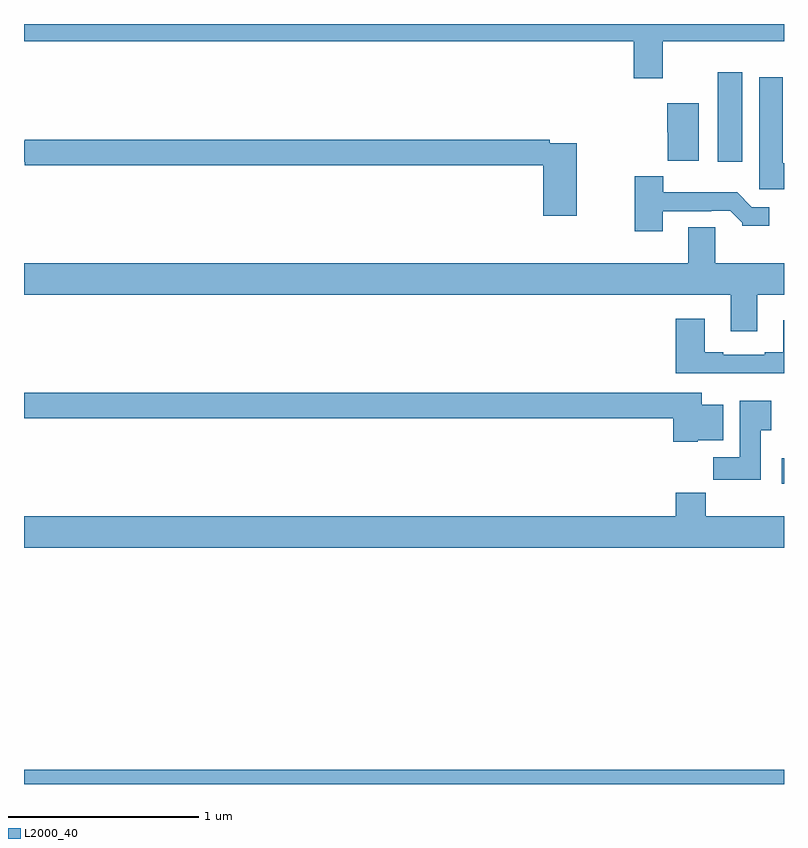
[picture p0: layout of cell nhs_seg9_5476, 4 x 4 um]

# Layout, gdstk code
import gdstk
lib = gdstk.Library(unit=1e-6, precision=1e-09)
def R(c, l, rs):  # rectangles x0, y0, x1, y1
    for r in rs: c.add(gdstk.rectangle(r[:2], r[2:], *l))
def P(c, l, *ps):  # polygons
    for p in ps: c.add(gdstk.Polygon(p, *l))
L2000_40 = (2000, 40)

nhs_seg9_5476 = lib.new_cell('nhs_seg9_5476')
R(nhs_seg9_5476, L2000_40, [(429,1204.5,433,1204.576), (432.987,1206.08,433,1206.214), (432.65,1207.776,432.781,1208.245)])
P(nhs_seg9_5476, L2000_40, [(432.361,1208.408),(433,1208.408),(433,1208.5),(429,1208.5),(429,1208.408),(432.209,1208.408),(432.209,1208.214),(432.361,1208.214)],
  [(433,1207.768),(432.994,1207.768),(432.994,1208.221),(432.869,1208.221),(432.869,1207.629),(433,1207.629)],
  [(432.55,1208.083),(432.386,1208.083),(432.386,1207.929),(432.388,1207.929),(432.388,1207.781),(432.55,1207.781)],
  [(431.91,1207.872),(431.768,1207.872),(431.768,1207.892),(429.005,1207.892),(429.005,1207.885),(429,1207.885),(429,1207.775),(429.004,1207.775),(429.004,1207.756),(431.732,1207.756),(431.732,1207.491),(431.91,1207.491)],
  [(432.361,1207.515),(432.617,1207.515),(432.617,1207.518),(432.716,1207.518),(432.78,1207.454),(432.78,1207.439),(432.922,1207.439),(432.922,1207.536),(432.831,1207.536),(432.753,1207.615),(432.364,1207.615),(432.364,1207.699),(432.214,1207.699),(432.214,1207.41),(432.361,1207.41)],
  [(432.859,1207.076),(433,1207.076),(433,1207.24),(432.637,1207.24),(432.637,1207.43),(432.497,1207.43),(432.497,1207.24),(429,1207.24),(429,1207.076),(432.719,1207.076),(432.719,1206.882),(432.859,1206.882)],
  [(433,1206.94),(432.995,1206.94),(432.995,1206.772),(432.899,1206.772),(432.899,1206.759),(432.679,1206.759),(432.679,1206.772),(432.583,1206.772),(432.583,1206.949),(432.431,1206.949),(432.431,1206.662),(433,1206.662)],
  [(432.546,1206.308),(432.679,1206.308),(432.679,1206.496),(432.568,1206.496),(432.568,1206.56),(429,1206.56),(429,1206.424),(432.416,1206.424),(432.416,1206.302),(432.546,1206.302)],
  [(432.877,1206.361),(432.934,1206.361),(432.934,1206.517),(432.767,1206.517),(432.767,1206.22),(432.628,1206.22),(432.628,1206.102),(432.877,1206.102)],
  [(433,1205.908),(432.587,1205.908),(432.587,1206.032),(432.431,1206.032),(432.431,1205.908),(429,1205.908),(429,1205.744),(433,1205.744)])

lib.write_gds('nhs_seg9_5476.gds')
